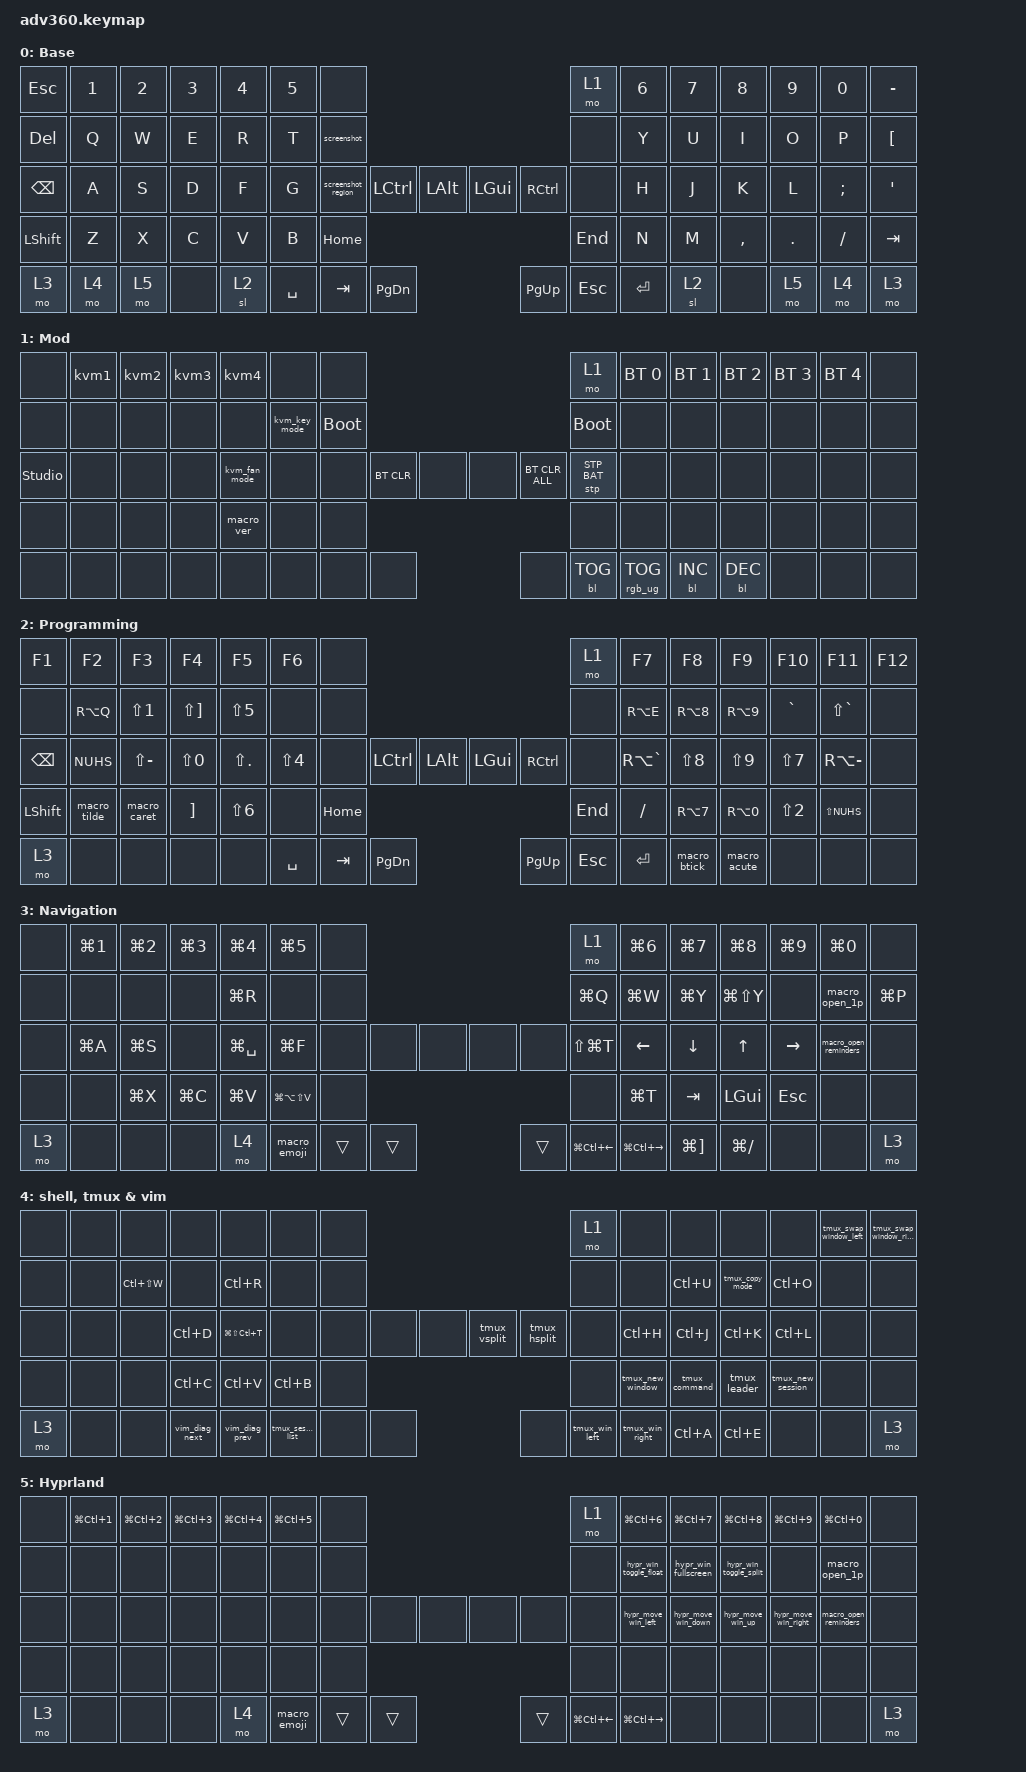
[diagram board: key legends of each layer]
#include <behaviors.dtsi>
#include <dt-bindings/zmk/keys.h>
#include <dt-bindings/zmk/bt.h>
#include <dt-bindings/zmk/rgb.h>
#include <dt-bindings/zmk/stp.h>
#include <dt-bindings/zmk/backlight.h>
#include <dt-bindings/zmk/pointing.h>

/ {
    behaviors {
      #include "macros.dtsi"
      #include "version.dtsi"

      hm: homerow_mods {
          compatible = "zmk,behavior-hold-tap";
          label = "HOMEROW_MODS";
          #binding-cells = <2>;
          tapping-term-ms = <200>;
          quick_tap_ms = <175>;
          flavor = "tap-preferred";
          bindings = <&kp>, <&kp>;
      };
    };

  keymap {
    compatible = "zmk,keymap";

    default_layer {
      display-name = "Base";
      bindings = <
        &kp ESC     &kp N1  &kp N2  &kp N3  &kp N4  &kp N5  &none                                                                       &mo 1  &kp N6  &kp N7  &kp N8  &kp N9      &kp N0   &kp MINUS
        &kp DELETE  &kp Q   &kp W   &kp E   &kp R   &kp T   &screenshot                                                                 &none  &kp Y   &kp U   &kp I    &kp O      &kp P    &kp LBKT
        &kp BSPC    &kp A   &kp S   &kp D   &kp F   &kp G   &screenshot_region           &kp LCTRL &kp LALT &kp LGUI &kp RCTRL                 &none   &kp H   &kp J    &kp K      &kp L    &kp SEMI  &kp SQT
        &kp LSHFT   &kp Z   &kp X   &kp C   &kp V   &kp B                                         &kp HOME &kp END                                     &kp N   &kp M    &kp COMMA  &kp DOT  &kp FSLH  &kp TAB
        &mo 3       &mo 4   &mo 5   &none   &sl 2                              &kp SPACE &kp TAB &kp PG_DN &kp PG_UP &kp ESC &kp ENTER                         &sl 2    &none      &mo 5    &mo 4     &mo 3
      >;
    };
    mod {
      display-name = "Mod";
      bindings = <
        &none           &kvm1  &kvm2  &kvm3  &kvm4          &none          &none                                                            &mo 1         &bt BT_SEL 0  &bt BT_SEL 1  &bt BT_SEL 2  &bt BT_SEL 3  &bt BT_SEL 4  &none
        &none           &none  &none  &none  &none          &kvm_key_mode  &bootloader                                                      &bootloader   &none         &none         &none         &none         &none         &none
        &studio_unlock  &none  &none  &none  &kvm_fan_mode  &none          &none         &bt BT_CLR &none &none &bt BT_CLR_ALL              &stp STP_BAT  &none         &none         &none         &none         &none         &none
        &none           &none  &none  &none  &macro_ver     &none                                   &none &none                                           &none         &none         &none         &none         &none         &none
        &none           &none  &none  &none  &none                                      &none &none &none &none &bl BL_TOG &rgb_ug RGB_TOG                              &bl BL_INC    &bl BL_DEC    &none         &none         &none
      >;
    };
    prog {
      display-name = "Programming";
      bindings = <
        &kp F1     &kp F2        &kp F3         &kp F4        &kp F5       &kp F6      &none                                                                  &mo 1     &kp F7         &kp F8        &kp F9        &kp F10     &kp F11        &kp F12
        &none      &kp RA(Q)     &kp LS(N1)     &kp LS(RBKT)  &kp LS(N5)   &none       &none                                                                  &none     &kp RA(E)      &kp RA(N8)    &kp RA(N9)    &kp GRAVE   &kp LS(GRAVE)  &none
        &kp BSPC   &kp NUHS      &kp LS(MINUS)  &kp LS(N0)    &kp LS(DOT)  &kp LS(N4)  &none             &kp LCTRL  &kp LALT   &kp LGUI   &kp RCTRL           &none     &kp RA(GRAVE)  &kp LS(N8)    &kp LS(N9)    &kp LS(N7)  &kp RA(MINUS)  &none
        &kp LSHFT  &macro_tilde  &macro_caret   &kp RBKT      &kp LS(N6)   &none                                    &kp HOME   &kp END                                  &kp FSLH       &kp RA(N7)    &kp RA(N0)    &kp LS(N2)  &kp LS(NUHS)   &none
        &mo 3      &none         &none          &none         &none                           &kp SPACE  &kp TAB    &kp PG_DN  &kp PG_UP  &kp ESC  &kp ENTER                           &macro_btick  &macro_acute  &none       &none          &none
      >;
    };
    navigation {
      display-name = "Navigation";
      bindings = <
        &none   &kp LG(N1) &kp LG(N2) &kp LG(N3) &kp LG(N4)     &kp LG(N5)         &none                                                                        &mo 1          &kp LG(N6) &kp LG(N7)    &kp LG(N8)     &kp LG(N9)    &kp LG(N0)             &none
        &none   &none      &none      &none      &kp LG(R)      &none              &none                                                                        &kp LG(Q)      &kp LG(W)  &kp LG(Y)     &kp LG(LS(Y))  &none         &macro_open_1p         &kp LG(P)
        &none   &kp LG(A)  &kp LG(S)  &none      &kp LG(SPACE)  &kp LG(F)          &none               &none &none &none &none                                  &kp LS(LG(T))  &kp LEFT   &kp DOWN      &kp UP         &kp RIGHT     &macro_open_reminders  &none
        &none   &none      &kp LG(X)  &kp LG(C)  &kp LG(V)      &kp LG(LA(LS(V)))                            &none &none                                                       &kp LG(T)  &kp TAB       &kp LGUI       &kp ESC       &none                  &none
        &mo 3   &none      &none      &none      &mo 4                                    &macro_emoji &trans &trans &trans &kp LG(LC(LEFT)) &kp LG(LC(RIGHT))                            &kp LG(RBKT)  &kp LG(FSLH)   &none         &none                  &mo 3
      >;
    };
    stv {
      display-name = "shell, tmux & vim";
      bindings = <
        &none  &none  &none          &none           &none             &none      &none                                                                                 &mo 1             &none             &none          &none            &none              &tmux_swap_window_left  &tmux_swap_window_right
        &none  &none  &kp LC(LS(W))  &none           &kp LC(R)         &none      &none                                                                                 &none             &none             &kp LC(U)      &tmux_copy_mode  &kp LC(O)          &none                   &none
        &none  &none  &none          &kp LC(D)       &kp LG(LS(LC(T))) &none      &none                         &none &none &tmux_vsplit &tmux_hsplit                   &none             &kp LC(H)         &kp LC(J)      &kp LC(K)        &kp LC(L)          &none                   &none
        &none  &none  &none          &kp LC(C)       &kp LC(V)         &kp LC(B)                                      &none &none                                                         &tmux_new_window  &tmux_command  &tmux_leader     &tmux_new_session  &none                   &none
        &mo 3  &none  &none          &vim_diag_next  &vim_diag_prev                               &tmux_sessions_list &none &none &none &tmux_win_left &tmux_win_right                                      &kp LC(A)      &kp LC(E)        &none              &none                   &mo 3
      >;
    };
    hypr {
      display-name = "Hyprland";
      bindings = <
        &none  &kp LG(LC(N1))  &kp LG(LC(N2))  &kp LG(LC(N3))  &kp LG(LC(N4)) &kp LG(LC(N5))  &none                                                                        &mo 1  &kp LG(LC(N6))          &kp LG(LC(N7))        &kp LG(LC(N8))          &kp LG(LC(N9))        &kp LG(LC(N0))        &none
        &none  &none           &none           &none           &none          &none           &none                                                                        &none  &hypr_win_toggle_float  &hypr_win_fullscreen  &hypr_win_toggle_split  &none                 &macro_open_1p         &none
        &none  &none           &none           &none           &none          &none           &none                 &none &none &none &none                                &none  &hypr_move_win_left     &hypr_move_win_down   &hypr_move_win_up       &hypr_move_win_right  &macro_open_reminders  &none
        &none  &none           &none           &none           &none          &none                                       &none &none                                             &none                   &none                 &none                   &none                 &none                  &none
        &mo 3  &none           &none           &none           &mo 4                                 &macro_emoji &trans &trans &trans &kp LG(LC(LEFT)) &kp LG(LC(RIGHT))                                 &none                 &none                   &none                 &none                  &mo 3
      >;
    };
    extra1 { 
      display-name = "Red";
      status = "reserved";
    };
    extra2 { 
      display-name = "Purple";
      status = "reserved";
    };
    extra3 { 
      display-name = "Cyan";
      status = "reserved";
    };
    extra4 { 
      display-name = "Yellow";
      status = "reserved";
    };
  };
};
